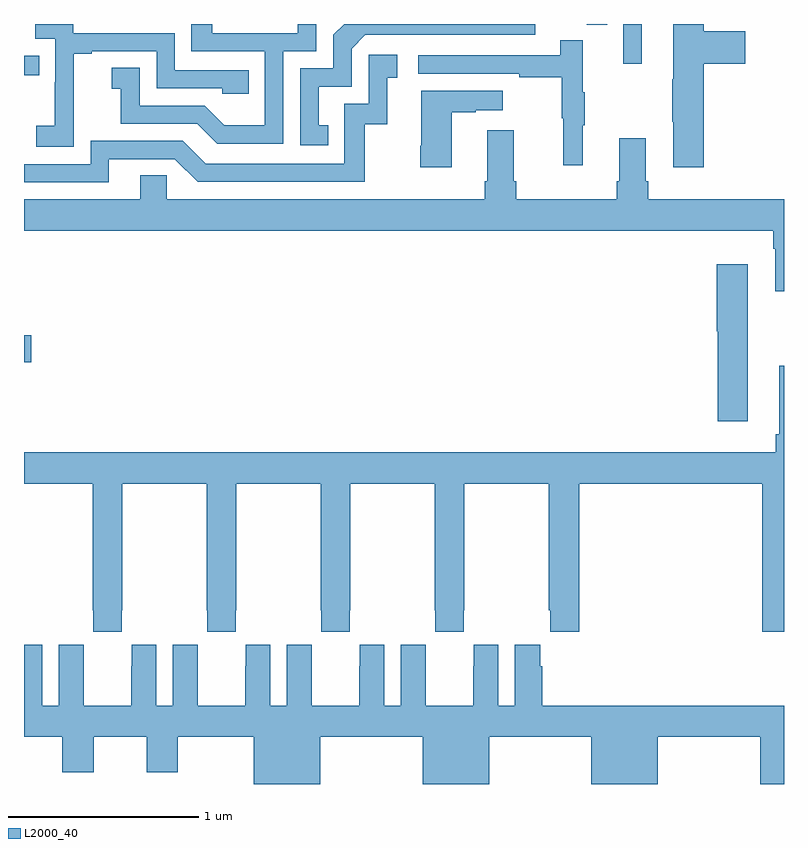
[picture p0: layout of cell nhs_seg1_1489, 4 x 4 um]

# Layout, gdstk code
import gdstk
lib = gdstk.Library(unit=1e-6, precision=1e-09)
def R(c, l, rs):  # rectangles x0, y0, x1, y1
    for r in rs: c.add(gdstk.rectangle(r[:2], r[2:], *l))
def P(c, l, *ps):  # polygons
    for p in ps: c.add(gdstk.Polygon(p, *l))
L2000_40 = (2000, 40)

nhs_seg1_1489 = lib.new_cell('nhs_seg1_1489')
R(nhs_seg1_1489, L2000_40, [(193,504.418,193.039,504.56), (193,505.93,193.079,506.031), (196.155,505.989,196.252,506.199), (195.962,506.194,196.07,506.199)])
P(nhs_seg1_1489, L2000_40, [(196.577,505.991),(196.795,505.991),(196.795,506.161),(196.577,506.161),(196.577,506.199),(196.418,506.199),(196.418,505.907),(196.411,505.907),(196.411,505.684),(196.418,505.684),(196.418,505.446),(196.577,505.446)],
  [(194.364,506.055),(194.538,506.055),(194.538,506.199),(194.441,506.199),(194.441,506.151),(193.99,506.151),(193.99,506.199),(193.879,506.199),(193.879,506.055),(194.268,506.055),(194.268,505.666),(194.054,505.666),(193.95,505.77),(193.608,505.77),(193.608,505.969),(193.461,505.969),(193.461,505.859),(193.51,505.859),(193.51,505.674),(193.913,505.674),(194.018,505.569),(194.364,505.569)],
  [(193.263,505.759),(193.262,505.759),(193.262,506.043),(193.357,506.043),(193.357,506.055),(193.698,506.055),(193.698,505.86),(194.043,505.86),(194.043,505.833),(194.183,505.833),(194.183,505.956),(193.794,505.956),(193.794,506.151),(193.26,506.151),(193.26,506.199),(193.059,506.199),(193.059,506.121),(193.164,506.121),(193.164,505.892),(193.163,505.892),(193.163,505.663),(193.065,505.663),(193.065,505.553),(193.263,505.553)],
  [(194.6,505.665),(194.551,505.665),(194.551,505.869),(194.724,505.869),(194.724,506.07),(194.796,506.142),(195.69,506.142),(195.69,506.199),(194.685,506.199),(194.628,506.142),(194.628,505.965),(194.454,505.965),(194.454,505.56),(194.6,505.56)],
  [(195.941,505.667),(195.952,505.667),(195.952,505.841),(195.941,505.841),(195.941,506.113),(195.823,506.113),(195.823,506.034),(195.075,506.034),(195.075,505.938),(195.607,505.938),(195.607,505.918),(195.831,505.918),(195.831,505.704),(195.838,505.704),(195.838,505.455),(195.941,505.455)],
  [(193.447,505.488),(193.794,505.488),(193.914,505.368),(194.794,505.368),(194.794,505.671),(194.912,505.671),(194.912,505.917),(194.965,505.917),(194.965,506.038),(194.814,506.038),(194.814,505.779),(194.685,505.779),(194.685,505.464),(193.956,505.464),(193.836,505.584),(193.35,505.584),(193.35,505.461),(193,505.461),(193,505.365),(193.447,505.365)],
  [(195.25,505.735),(195.377,505.735),(195.377,505.745),(195.52,505.745),(195.52,505.849),(195.092,505.849),(195.092,505.558),(195.085,505.558),(195.085,505.446),(195.25,505.446)],
  [(197,505.276),(196.286,505.276),(196.286,505.372),(196.273,505.372),(196.273,505.597),(196.133,505.597),(196.133,505.372),(196.121,505.372),(196.121,505.276),(195.59,505.276),(195.59,505.372),(195.577,505.372),(195.577,505.639),(195.437,505.639),(195.437,505.372),(195.425,505.372),(195.425,505.276),(193.752,505.276),(193.752,505.403),(193.613,505.403),(193.613,505.276),(193,505.276),(193,505.112),(196.943,505.112),(196.943,505.016),(196.955,505.016),(196.955,504.792),(197,504.792)],
  [(196.81,504.934),(196.646,504.934),(196.646,504.582),(196.652,504.582),(196.652,504.108),(196.81,504.108)],
  [(193.515,503.113),(193.518,503.113),(193.518,503.78),(193.963,503.78),(193.963,503.113),(193.965,503.113),(193.965,503.001),(194.115,503.001),(194.115,503.113),(194.118,503.113),(194.118,503.78),(194.563,503.78),(194.563,503.113),(194.565,503.113),(194.565,503.001),(194.715,503.001),(194.715,503.113),(194.718,503.113),(194.718,503.78),(195.163,503.78),(195.163,503.113),(195.165,503.113),(195.165,503.001),(195.315,503.001),(195.315,503.113),(195.318,503.113),(195.318,503.78),(195.763,503.78),(195.763,503.113),(195.769,503.113),(195.769,503.001),(195.923,503.001),(195.923,503.78),(196.886,503.78),(196.886,503.001),(197,503.001),(197,504.4),(196.976,504.4),(196.976,504.04),(196.957,504.04),(196.957,503.944),(193,503.944),(193,503.78),(193.363,503.78),(193.363,503.113),(193.365,503.113),(193.365,503.001),(193.515,503.001)],
  [(193.646,502.26),(193.81,502.26),(193.81,502.448),(194.21,502.448),(194.21,502.199),(194.56,502.199),(194.56,502.448),(195.098,502.448),(195.098,502.199),(195.448,502.199),(195.448,502.448),(195.986,502.448),(195.986,502.199),(196.336,502.199),(196.336,502.448),(196.874,502.448),(196.874,502.199),(197,502.199),(197,502.612),(195.728,502.612),(195.728,502.82),(195.718,502.82),(195.718,502.933),(195.584,502.933),(195.584,502.612),(195.496,502.612),(195.496,502.933),(195.366,502.933),(195.366,502.82),(195.365,502.82),(195.365,502.612),(195.115,502.612),(195.115,502.82),(195.114,502.82),(195.114,502.933),(194.984,502.933),(194.984,502.612),(194.896,502.612),(194.896,502.933),(194.766,502.933),(194.766,502.82),(194.765,502.82),(194.765,502.612),(194.515,502.612),(194.515,502.82),(194.514,502.82),(194.514,502.933),(194.384,502.933),(194.384,502.612),(194.296,502.612),(194.296,502.933),(194.166,502.933),(194.166,502.82),(194.165,502.82),(194.165,502.612),(193.915,502.612),(193.915,502.82),(193.914,502.82),(193.914,502.933),(193.784,502.933),(193.784,502.612),(193.696,502.612),(193.696,502.933),(193.566,502.933),(193.566,502.82),(193.565,502.82),(193.565,502.612),(193.315,502.612),(193.315,502.82),(193.314,502.82),(193.314,502.933),(193.184,502.933),(193.184,502.612),(193.096,502.612),(193.096,502.933),(193,502.933),(193,502.448),(193.202,502.448),(193.202,502.26),(193.366,502.26),(193.366,502.448),(193.646,502.448)])

lib.write_gds('nhs_seg1_1489.gds')
